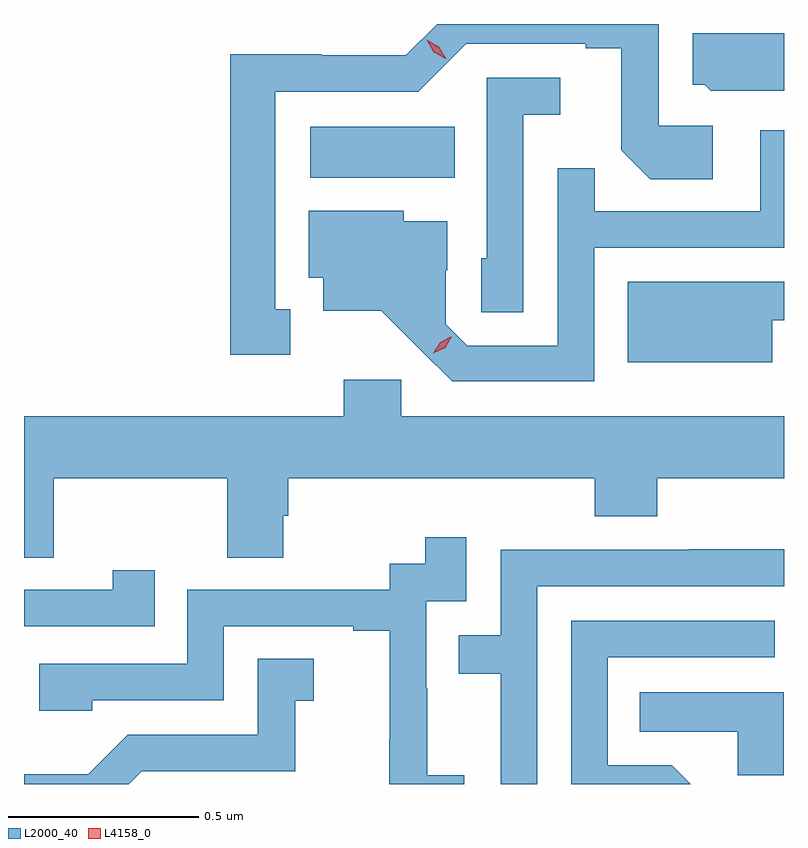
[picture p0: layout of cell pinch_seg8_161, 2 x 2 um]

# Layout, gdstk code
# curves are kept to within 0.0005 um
import gdstk
lib = gdstk.Library(unit=1e-6, precision=1e-09)
def R(c, l, rs):  # rectangles x0, y0, x1, y1
    for r in rs: c.add(gdstk.rectangle(r[:2], r[2:], *l))
def P(c, l, *ps):  # polygons
    for p in ps: c.add(gdstk.Polygon(p, *l))
L2000_40 = (2000, 40)
L4158_0 = (4158, 0)

pinch_seg8_161 = lib.new_cell('pinch_seg8_161')
R(pinch_seg8_161, L2000_40, [(693.93,1154.588,694.31,1154.722)])
P(pinch_seg8_161, L2000_40, [(693.877,1154.241),(693.838,1154.241),(693.838,1154.814),(694.215,1154.814),(694.341,1154.94),(694.655,1154.94),(694.655,1154.928),(694.749,1154.928),(694.749,1154.66),(694.825,1154.584),(694.99,1154.584),(694.99,1154.724),(694.848,1154.724),(694.848,1154.992),(694.264,1154.992),(694.182,1154.91),(693.96,1154.91),(693.96,1154.912),(693.72,1154.912),(693.72,1154.121),(693.877,1154.121)],
  [(695.118,1154.817),(695.177,1154.817),(695.177,1154.968),(694.937,1154.968),(694.937,1154.832),(694.968,1154.832),(694.984,1154.816),(695.118,1154.816)],
  [(694.491,1154.753),(694.588,1154.753),(694.588,1154.85),(694.395,1154.85),(694.395,1154.376),(694.38,1154.376),(694.38,1154.233),(694.491,1154.233)],
  [(694.677,1154.403),(695.177,1154.403),(695.177,1154.713),(695.115,1154.713),(695.115,1154.499),(694.679,1154.499),(694.679,1154.612),(694.581,1154.612),(694.581,1154.145),(694.344,1154.145),(694.287,1154.202),(694.287,1154.344),(694.291,1154.344),(694.291,1154.473),(694.176,1154.473),(694.176,1154.5),(693.926,1154.5),(693.926,1154.324),(693.965,1154.324),(693.965,1154.237),(694.117,1154.237),(694.304,1154.052),(694.677,1154.052)],
  [(695.146,1154.213),(695.177,1154.213),(695.177,1154.314),(694.766,1154.314),(694.766,1154.102),(695.146,1154.102)],
  [(694.17,1154.056),(694.019,1154.056),(694.019,1153.96),(693.177,1153.96),(693.177,1153.588),(693.255,1153.588),(693.255,1153.796),(693.712,1153.796),(693.712,1153.588),(693.859,1153.588),(693.859,1153.698),(693.872,1153.698),(693.872,1153.796),(694.679,1153.796),(694.679,1153.697),(694.844,1153.697),(694.844,1153.796),(695.177,1153.796),(695.177,1153.96),(694.17,1153.96)],
  [(694.336,1153.015),(694.238,1153.015),(694.238,1153.244),(694.236,1153.244),(694.236,1153.473),(694.341,1153.473),(694.341,1153.642),(694.233,1153.642),(694.233,1153.572),(694.14,1153.572),(694.14,1153.503),(693.606,1153.503),(693.606,1153.308),(693.217,1153.308),(693.217,1153.185),(693.357,1153.185),(693.357,1153.212),(693.702,1153.212),(693.702,1153.407),(694.043,1153.407),(694.043,1153.395),(694.139,1153.395),(694.139,1153.111),(694.138,1153.111),(694.138,1152.992),(694.336,1152.992)],
  [(694.527,1153.512),(695.177,1153.512),(695.177,1153.61),(694.927,1153.61),(694.927,1153.608),(694.431,1153.608),(694.431,1153.383),(694.321,1153.383),(694.321,1153.282),(694.431,1153.282),(694.431,1152.992),(694.527,1152.992)],
  [(693.521,1153.555),(693.41,1153.555),(693.41,1153.503),(693.177,1153.503),(693.177,1153.407),(693.521,1153.407)],
  [(694.882,1153.041),(694.713,1153.041),(694.713,1153.326),(695.152,1153.326),(695.152,1153.422),(694.617,1153.422),(694.617,1152.992),(694.931,1152.992)],
  [(693.487,1153.026),(693.891,1153.026),(693.891,1153.211),(693.94,1153.211),(693.94,1153.321),(693.792,1153.321),(693.792,1153.122),(693.45,1153.122),(693.346,1153.018),(693.177,1153.018),(693.177,1152.992),(693.453,1152.992)],
  [(695.176,1153.234),(694.798,1153.234),(694.798,1153.13),(695.055,1153.13),(695.055,1153.015),(695.176,1153.015)])
P(pinch_seg8_161, L4158_0, [(694.254,1154.125),(694.254,1154.125),(694.272,1154.155),(694.303,1154.17),(694.303,1154.17),(694.303,1154.17),(694.285,1154.14),(694.254,1154.125)],
  [(694.287,1154.9),(694.255,1154.918),(694.237,1154.951),(694.237,1154.951),(694.237,1154.951),(694.269,1154.932),(694.288,1154.9),(694.288,1154.9)])

lib.write_gds('pinch_seg8_161.gds')
